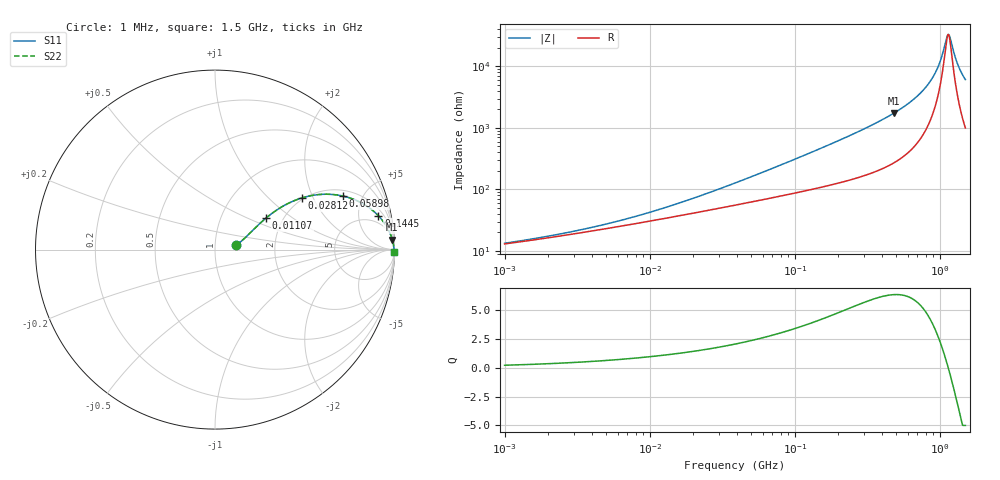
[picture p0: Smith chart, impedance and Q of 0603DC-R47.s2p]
# MHz  S  MA  R  50
!Freq  MagS11  AngS11  MagS21  AngS21  MagS12  AngS12  MagS22  AngS22
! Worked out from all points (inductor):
!   801 points, 1 MHz to 1.5 GHz, reference 50 ohm
!   read as one part in series: L = 470 nH near 78.3 MHz
!   highest Q = 6.36 at 482.8 MHz (marker M1), where L = 569 nH
!   self-resonance near 1.14 GHz
!   S11 on the Smith chart (normalised r, x): 1 MHz: 1.26, +0.06; 11.07 MHz: 1.64, +0.65; 28.12 MHz: 1.96, +1.66; 58.98 MHz: 2.35, +3.49; 144.5 MHz: 3.11, +8.66; 1.5 GHz: open
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1  0.1181 11.3  0.8845 -1.5  0.8845 -1.5  0.1181 11.3
3.404045  0.1851 22.0  0.8313 -4.8  0.8313 -4.8  0.1851 22.0
11.06981  0.3361 31.8  0.7359 -13.9  0.7359 -13.9  0.3361 31.8
11.48208  0.3431 31.9  0.7317 -14.4  0.7317 -14.4  0.3431 31.9
28.12494  0.5654 30.7  0.5893 -29.3  0.5893 -29.3  0.5654 30.7
38.72983  0.6589 27.8  0.5179 -36.4  0.5179 -36.4  0.6589 27.8
58.9754  0.7736 22.7  0.4133 -46.2  0.4133 -46.2  0.7736 22.7
131.8381  0.9198 12.7  0.2261 -63.0  0.2261 -63.0  0.9198 12.7
144.4582  0.9299 11.7  0.2086 -64.6  0.2086 -64.6  0.9299 11.7
271.4438  0.9735 6.4  0.113 -73.3  0.113 -73.3  0.9735 6.4
444.6989  0.9881 3.6  0.06339 -77.4  0.06339 -77.4  0.9881 3.6
482.8332  0.9896 3.2  0.05667 -77.9  0.05667 -77.9  0.9896 3.2
670.998  0.994 1.9  0.03287 -78.5  0.03287 -78.5  0.994 1.9
843.2844  0.9957 1.0  0.01846 -76.1  0.01846 -76.1  0.9957 1.0
976.1036  0.9965 0.5  0.009882 -68.9  0.009882 -68.9  0.9965 0.5
1031.138  0.9967 0.3  0.006863 -61.1  0.006863 -61.1  0.9967 0.3
1109.373  0.9969 0.1  0.003535 -29.5  0.003535 -29.5  0.9969 0.1
1140.218  0.997 0.0  0.003011 -2.7  0.003011 -2.7  0.997 0.0
1182.683  0.9971 -0.1  0.003543 34.2  0.003543 34.2  0.9971 -0.1
1272.416  0.9972 -0.4  0.00688 65.6  0.00688 65.6  0.9972 -0.4
1344.157  0.9972 -0.5  0.009908 73.5  0.009908 73.5  0.9972 -0.5
1500  0.9972 -0.9  0.01632 79.7  0.01632 79.7  0.9972 -0.9
